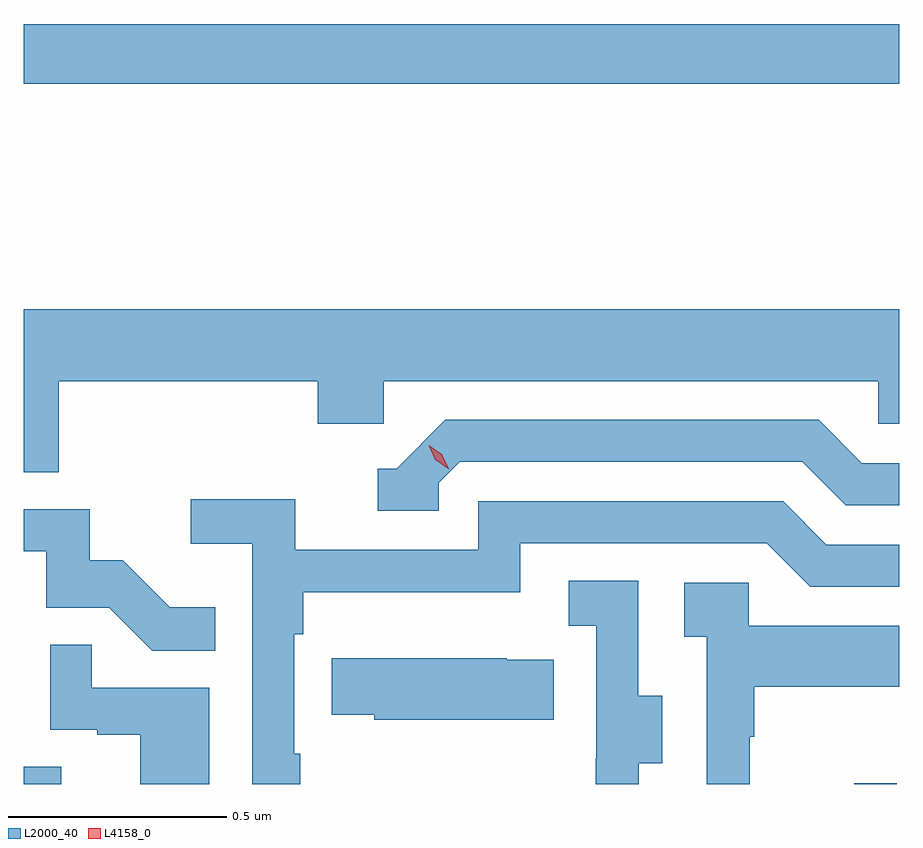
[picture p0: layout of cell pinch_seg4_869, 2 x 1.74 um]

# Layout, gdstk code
import gdstk
lib = gdstk.Library(unit=1e-6, precision=1e-09)
def R(c, l, rs):  # rectangles x0, y0, x1, y1
    for r in rs: c.add(gdstk.rectangle(r[:2], r[2:], *l))
def P(c, l, *ps):  # polygons
    for p in ps: c.add(gdstk.Polygon(p, *l))
L2000_40 = (2000, 40)
L4158_0 = (4158, 0)

pinch_seg4_869 = lib.new_cell('pinch_seg4_869')
R(pinch_seg4_869, L2000_40, [(881.25,790.571,881.335,790.61), (883.148,790.571,883.245,790.573), (881.25,792.172,883.25,792.308)])
P(pinch_seg4_869, L2000_40, [(881.33,791.492),(881.921,791.492),(881.921,791.394),(882.072,791.394),(882.072,791.492),(883.203,791.492),(883.203,791.394),(883.25,791.394),(883.25,791.656),(881.25,791.656),(881.25,791.284),(881.33,791.284)],
  [(882.198,791.259),(882.246,791.307),(883.029,791.307),(883.128,791.208),(883.25,791.208),(883.25,791.304),(883.165,791.304),(883.066,791.403),(882.213,791.403),(882.102,791.292),(882.059,791.292),(882.059,791.196),(882.198,791.196)],
  [(881.881,790.64),(881.868,790.64),(881.868,790.913),(881.888,790.913),(881.888,791.009),(882.384,791.009),(882.384,791.121),(882.948,791.121),(883.047,791.022),(883.25,791.022),(883.25,791.118),(883.084,791.118),(882.985,791.217),(882.288,791.217),(882.288,791.106),(881.87,791.106),(881.87,791.222),(881.631,791.222),(881.631,791.12),(881.772,791.12),(881.772,790.571),(881.881,790.571)],
  [(881.687,790.975),(881.583,790.975),(881.476,791.082),(881.4,791.082),(881.4,791.199),(881.25,791.199),(881.25,791.103),(881.301,791.103),(881.301,790.974),(881.445,790.974),(881.543,790.876),(881.687,790.876)],
  [(882.655,790.618),(882.709,790.618),(882.709,790.773),(882.654,790.773),(882.654,791.036),(882.495,791.036),(882.495,790.933),(882.558,790.933),(882.558,790.629),(882.557,790.629),(882.557,790.571),(882.655,790.571)],
  [(882.909,790.679),(882.919,790.679),(882.919,790.793),(883.25,790.793),(883.25,790.933),(882.906,790.933),(882.906,791.031),(882.759,791.031),(882.759,790.907),(882.81,790.907),(882.81,790.571),(882.909,790.571)],
  [(881.674,790.791),(881.405,790.791),(881.405,790.889),(881.31,790.889),(881.31,790.695),(881.417,790.695),(881.417,790.683),(881.516,790.683),(881.516,790.571),(881.674,790.571)],
  [(882.461,790.855),(882.353,790.855),(882.353,790.858),(881.953,790.858),(881.953,790.729),(882.051,790.729),(882.051,790.718),(882.461,790.718)])
P(pinch_seg4_869, L4158_0, [(882.22,791.292),(882.19,791.312),(882.175,791.345),(882.175,791.345),(882.175,791.345),(882.205,791.325),(882.221,791.292),(882.221,791.292)])

lib.write_gds('pinch_seg4_869.gds')
